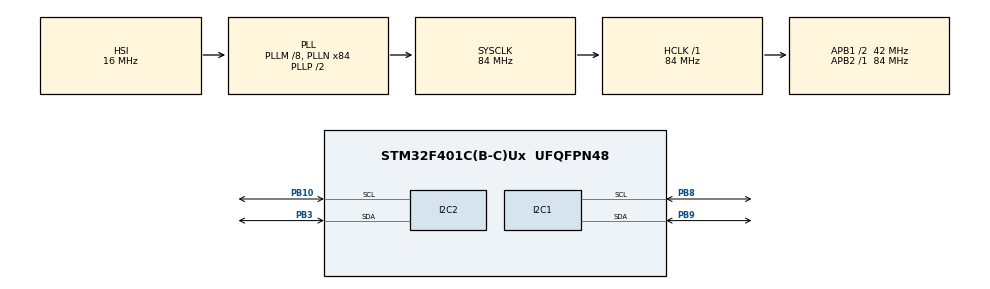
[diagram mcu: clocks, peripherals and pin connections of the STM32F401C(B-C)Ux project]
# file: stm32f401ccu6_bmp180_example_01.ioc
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Mcu.Family=STM32F4
Mcu.Name=STM32F401C(B-C)Ux
Mcu.Package=UFQFPN48
NVIC.PriorityGroup=NVIC_PRIORITYGROUP_4
PA13.Mode=Serial_Wire
PA13.Signal=SYS_JTMS-SWDIO
PA14.Mode=Serial_Wire
PA14.Signal=SYS_JTCK-SWCLK
PB10.Mode=I2C
PB10.Signal=I2C2_SCL
PB3.Mode=I2C
PB3.Signal=I2C2_SDA
PB8.Mode=I2C
PB8.Signal=I2C1_SCL
PB9.Mode=I2C
PB9.Signal=I2C1_SDA
ProjectManager.HeapSize=0x200
ProjectManager.StackSize=0x400
ProjectManager.TargetToolchain=STM32CubeIDE
RCC.48MHZClocksFreq_Value=42000000
RCC.AHBFreq_Value=84000000
RCC.APB1CLKDivider=RCC_HCLK_DIV2
RCC.APB1Freq_Value=42000000
RCC.APB1TimFreq_Value=84000000
RCC.APB2Freq_Value=84000000
RCC.APB2TimFreq_Value=84000000
RCC.CortexFreq_Value=84000000
RCC.HCLKFreq_Value=84000000
RCC.HSE_VALUE=25000000
RCC.HSI_VALUE=16000000
RCC.LSE_VALUE=32768
RCC.PLLM=8
RCC.PLLN=84
RCC.SYSCLKFreq_VALUE=84000000
RCC.SYSCLKSource=RCC_SYSCLKSOURCE_PLLCLK
RCC.VCOOutputFreq_Value=168000000
board=custom

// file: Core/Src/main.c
/* USER CODE BEGIN Header */
/**
  ******************************************************************************
  * @file           : main.c
  * @brief          : Main program body
  ******************************************************************************
  * @attention
  *
  * Copyright (c) 2024 STMicroelectronics.
  * All rights reserved.
  *
  * This software is licensed under terms that can be found in the LICENSE file
  * in the root directory of this software component.
  * If no LICENSE file comes with this software, it is provided AS-IS.
  *
  ******************************************************************************
  */
/* USER CODE END Header */
#include "main.h"

/* USER CODE BEGIN Includes */
#include "bmp180_for_stm32_hal.h"
#include "lcd1602_i2c_lib.h"
#include "stdio.h"
/* USER CODE END Includes */

I2C_HandleTypeDef hi2c1;
I2C_HandleTypeDef hi2c2;

void SystemClock_Config(void);
static void MX_GPIO_Init(void);
static void MX_I2C1_Init(void);
static void MX_I2C2_Init(void);

int main(void)
{

  /* MCU Configuration--------------------------------------------------------*/

  /* Reset of all peripherals, Initializes the Flash interface and the Systick. */
  HAL_Init();

  /* Configure the system clock */
  SystemClock_Config();

  /* Initialize all configured peripherals */
  MX_GPIO_Init();
  MX_I2C1_Init();
  MX_I2C2_Init();
  /* USER CODE BEGIN 2 */
  HAL_Delay(100);
  lcd1602_Init();// инициализация дисплея
  BMP180_Init(&hi2c1);
  BMP180_SetOversampling(BMP180_ULTRA);
  BMP180_UpdateCalibrationData();
  lcd1602_Clean();// предварительная очистка памяти дисплея
  lcd1602_SetCursor(1, 0);// установка курсора
  /* USER CODE END 2 */

  /* Infinite loop */
  /* USER CODE BEGIN WHILE */
  while (1)
  {
		/* Reads temperature. */
		int32_t temperature = BMP180_GetRawTemperature();
		/* If you want a floating point number instead, you can call: */
		//float temperature = BMP180_GetTemperature();
		/* Reads pressure. */
		//char buffer[25];
		int32_t pressure = BMP180_GetPressure();
		char buffer[100];
		sprintf(buffer, "Temp: %d.%d deg", (int) temperature / 10, (int) temperature % 10);
		//sprintf(buffer, "Temp: %d.%d deg", (int) temperature / 10, (int) temperature % 10);
        lcd1602_Print_text(buffer);
        lcd1602_SetCursor(0, 1);
		sprintf(buffer, "Pressure: %d Pa",(int) pressure);
        lcd1602_Print_text(buffer);
  	    HAL_Delay(300);
  	    lcd1602_Clean();// очистка дисплея
    /* USER CODE END WHILE */

  }
}

void SystemClock_Config(void)
{
  RCC_OscInitTypeDef RCC_OscInitStruct = {0};
  RCC_ClkInitTypeDef RCC_ClkInitStruct = {0};

  /** Configure the main internal regulator output voltage
  */
  __HAL_RCC_PWR_CLK_ENABLE();
  __HAL_PWR_VOLTAGESCALING_CONFIG(PWR_REGULATOR_VOLTAGE_SCALE2);

  /** Initializes the RCC Oscillators according to the specified parameters
  * in the RCC_OscInitTypeDef structure.
  */
  RCC_OscInitStruct.OscillatorType = RCC_OSCILLATORTYPE_HSI;
  RCC_OscInitStruct.HSIState = RCC_HSI_ON;
  RCC_OscInitStruct.HSICalibrationValue = RCC_HSICALIBRATION_DEFAULT;
  RCC_OscInitStruct.PLL.PLLState = RCC_PLL_ON;
  RCC_OscInitStruct.PLL.PLLSource = RCC_PLLSOURCE_HSI;
  RCC_OscInitStruct.PLL.PLLM = 8;
  RCC_OscInitStruct.PLL.PLLN = 84;
  RCC_OscInitStruct.PLL.PLLP = RCC_PLLP_DIV2;
  RCC_OscInitStruct.PLL.PLLQ = 4;
  if (HAL_RCC_OscConfig(&RCC_OscInitStruct) != HAL_OK)
  {
    Error_Handler();
  }

  /** Initializes the CPU, AHB and APB buses clocks
  */
  RCC_ClkInitStruct.ClockType = RCC_CLOCKTYPE_HCLK|RCC_CLOCKTYPE_SYSCLK
                              |RCC_CLOCKTYPE_PCLK1|RCC_CLOCKTYPE_PCLK2;
  RCC_ClkInitStruct.SYSCLKSource = RCC_SYSCLKSOURCE_PLLCLK;
  RCC_ClkInitStruct.AHBCLKDivider = RCC_SYSCLK_DIV1;
  RCC_ClkInitStruct.APB1CLKDivider = RCC_HCLK_DIV2;
  RCC_ClkInitStruct.APB2CLKDivider = RCC_HCLK_DIV1;

  if (HAL_RCC_ClockConfig(&RCC_ClkInitStruct, FLASH_LATENCY_2) != HAL_OK)
  {
    Error_Handler();
  }
}

static void MX_I2C1_Init(void)
{

  hi2c1.Instance = I2C1;
  hi2c1.Init.ClockSpeed = 100000;
  hi2c1.Init.DutyCycle = I2C_DUTYCYCLE_2;
  hi2c1.Init.OwnAddress1 = 0;
  hi2c1.Init.AddressingMode = I2C_ADDRESSINGMODE_7BIT;
  hi2c1.Init.DualAddressMode = I2C_DUALADDRESS_DISABLE;
  hi2c1.Init.OwnAddress2 = 0;
  hi2c1.Init.GeneralCallMode = I2C_GENERALCALL_DISABLE;
  hi2c1.Init.NoStretchMode = I2C_NOSTRETCH_DISABLE;
  if (HAL_I2C_Init(&hi2c1) != HAL_OK)
  {
    Error_Handler();
  }

}

static void MX_I2C2_Init(void)
{

  hi2c2.Instance = I2C2;
  hi2c2.Init.ClockSpeed = 100000;
  hi2c2.Init.DutyCycle = I2C_DUTYCYCLE_2;
  hi2c2.Init.OwnAddress1 = 0;
  hi2c2.Init.AddressingMode = I2C_ADDRESSINGMODE_7BIT;
  hi2c2.Init.DualAddressMode = I2C_DUALADDRESS_DISABLE;
  hi2c2.Init.OwnAddress2 = 0;
  hi2c2.Init.GeneralCallMode = I2C_GENERALCALL_DISABLE;
  hi2c2.Init.NoStretchMode = I2C_NOSTRETCH_DISABLE;
  if (HAL_I2C_Init(&hi2c2) != HAL_OK)
  {
    Error_Handler();
  }

}

static void MX_GPIO_Init(void)
{

  /* GPIO Ports Clock Enable */
  __HAL_RCC_GPIOB_CLK_ENABLE();
  __HAL_RCC_GPIOA_CLK_ENABLE();

}

void Error_Handler(void)
{
  __disable_irq();
  while (1)
  {
  }
}
